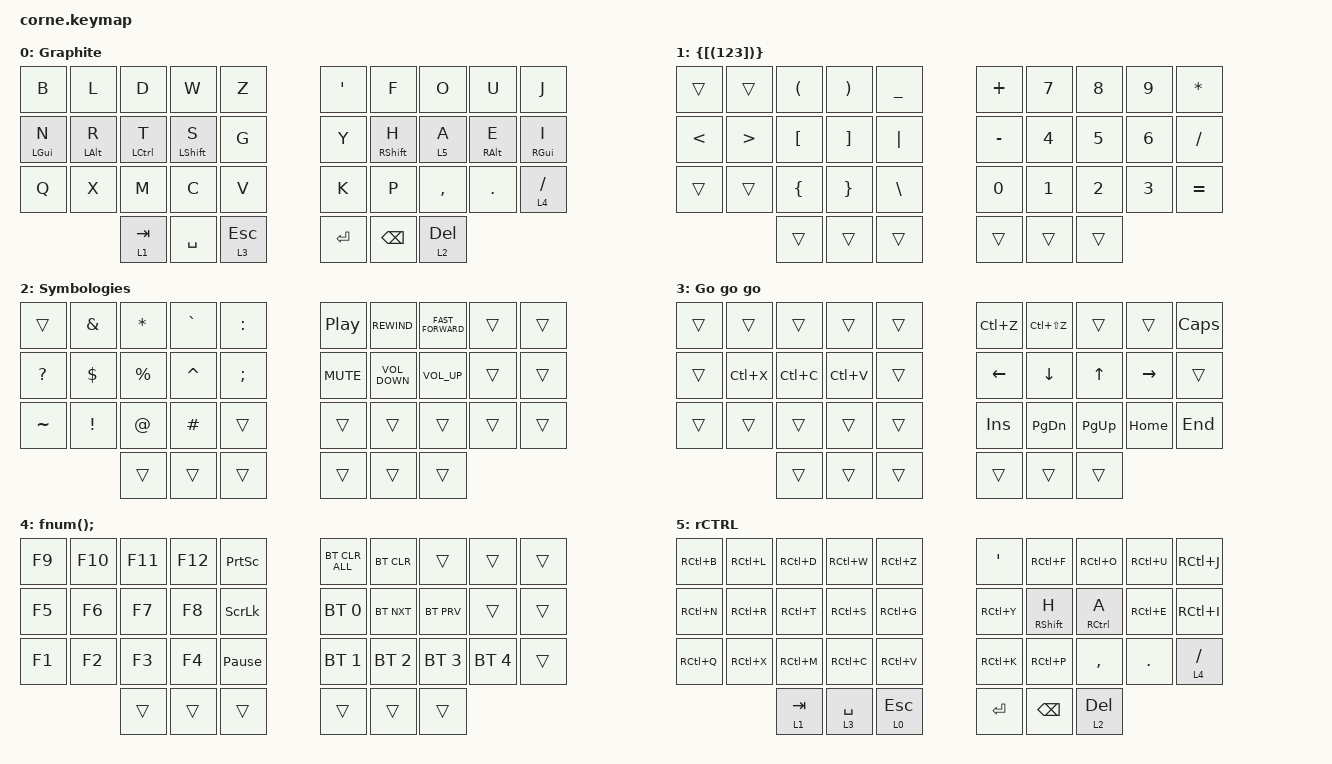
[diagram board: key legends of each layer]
/*
 * Copyright (c) 2020 The ZMK Contributors
 *
 * SPDX-License-Identifier: MIT
 */

#include <behaviors.dtsi>
#include <dt-bindings/zmk/bt.h>
#include <dt-bindings/zmk/keys.h>

/ {
    chosen { zmk,physical-layout = &foostan_corne_5col_layout; };

    behaviors {
        as: auto_shift {
            compatible = "zmk,behavior-hold-tap";
            #binding-cells = <2>;
            tapping_term_ms = <200>;
            quick_tap_ms = <0>;
            flavor = "tap-preferred";
            bindings = <&kp>, <&kp>;
        };

        home_row_mods: home_row_mods {
            compatible = "zmk,behavior-hold-tap";
            label = "HOME_ROW_MODS";
            bindings = <&kp>, <&kp>;

            #binding-cells = <2>;
            flavor = "balanced";
            tapping-term-ms = <300>;
            quick-tap-ms = <175>;
            require-prior-idle-ms = <150>;
        };
    };

    combos { compatible = "zmk,combos"; };

    keymap {
        compatible = "zmk,keymap";

        GRAPHITE {
            display-name = "Graphite";
            bindings = <
&kp B                      &kp L                      &kp D                          &kp W                        &kp Z         &kp APOS   &kp F                         &kp O      &kp U                       &kp J
&home_row_mods LEFT_GUI N  &home_row_mods LEFT_ALT R  &home_row_mods LEFT_CONTROL T  &home_row_mods LEFT_SHIFT S  &kp G         &kp Y      &home_row_mods RIGHT_SHIFT H  &lt 5 A    &home_row_mods RIGHT_ALT E  &home_row_mods RIGHT_GUI I
&kp Q                      &kp X                      &kp M                          &kp C                        &kp V         &kp K      &kp P                         &kp COMMA  &kp PERIOD                  &lt 4 SLASH
                                                      &lt 1 TAB                      &kp SPACE                    &lt 3 ESCAPE  &kp ENTER  &kp BACKSPACE                 &lt 2 DEL
            >;
        };

        Nums_Layer {
            // -----------------------------------------------------------------------------------------
            // | !     |  @  |  #  |  $  |  %  |     |  ^  |  &  |  *  |  (  |  )  |
            // | BT1   | BT2 | BT3 | BT4 | BT5 |     | LFT | DWN |  UP | RGT |     |
            // | BTCLR |     |     |     |     |     |     |     |     |     |     |
            //               | GUI |     | SPC |     | ENT | ESC | TAB |

            display-name = "{[(123])}";
            bindings = <
&trans         &trans            &kp LEFT_PARENTHESIS  &kp RIGHT_PARENTHESIS  &kp UNDERSCORE  &kp PLUS   &kp N7        &kp N8        &kp N9        &kp ASTERISK
&kp LESS_THAN  &kp GREATER_THAN  &kp LEFT_BRACKET      &kp RIGHT_BRACKET      &kp PIPE        &kp MINUS  &kp NUMBER_4  &kp N5        &kp NUMBER_6  &kp SLASH
&trans         &trans            &kp LEFT_BRACE        &kp RIGHT_BRACE        &kp BACKSLASH   &kp N0     &kp NUMBER_1  &kp NUMBER_2  &kp NUMBER_3  &kp EQUAL
                                 &trans                &trans                 &trans          &trans     &trans        &trans
            >;
        };

        Symbol_Layer {
            // -----------------------------------------------------------------------------------------
            // | 1! |  2@ |  3# |  4$ |  5% |     |  6^ |  7& |  8* |  9(  |  0)  |
            // | -_ |  =+ |  {  |  [  |  (  |     |  )  |  ]  |  }  |  /?  |  \|  |
            // | `~ |     |     |  ,< |  :  |     |  ;  |  .> | CTRL| META |      |
            //            | GUI | ESC | SPC |     | ENT |     | TAB |

            display-name = "Symbologies";
            bindings = <
&trans        &kp AMPERSAND    &kp ASTERISK  &kp GRAVE  &kp COLON  &kp C_PLAY_PAUSE  &kp C_REWIND       &kp C_FAST_FORWARD  &trans  &trans
&kp QUESTION  &kp DOLLAR       &kp PERCENT   &kp CARET  &kp SEMI   &kp C_MUTE        &kp C_VOLUME_DOWN  &kp C_VOL_UP        &trans  &trans
&kp TILDE     &kp EXCLAMATION  &kp AT_SIGN   &kp HASH   &trans     &trans            &trans             &trans              &trans  &trans
                               &trans        &trans     &trans     &trans            &trans             &trans
            >;
        };

        Navigation_Layer {
            // | 1! |  2@ |  3# |  4$ |  5% |     |  6^ |  7& |  8* |  9(  |  0)  |
            // | -_ |  =+ |  {  |  [  |  (  |     |  )  |  ]  |  }  |  /?  |  \|  |
            // | `~ |     |     |  ,< |  :  |     |  ;  |  .> | CTRL| META |      |
            //            | GUI | ESC | SPC |     | ENT |     | TAB |

            display-name = "Go go go";
            bindings = <
&trans  &trans     &trans     &trans     &trans  &kp LC(Z)       &kp LC(LS(Z))   &trans        &trans           &kp CAPSLOCK
&trans  &kp LC(X)  &kp LC(C)  &kp LC(V)  &trans  &kp LEFT_ARROW  &kp DOWN_ARROW  &kp UP_ARROW  &kp RIGHT_ARROW  &trans
&trans  &trans     &trans     &trans     &trans  &kp INSERT      &kp PAGE_DOWN   &kp PAGE_UP   &kp HOME         &kp END
                   &trans     &trans     &trans  &trans          &trans          &trans
            >;
        };

        Function_Layer {
            // | 1! |  2@ |  3# |  4$ |  5% |     |  6^ |  7& |  8* |  9(  |  0)  |
            // | -_ |  =+ |  {  |  [  |  (  |     |  )  |  ]  |  }  |  /?  |  \|  |
            // | `~ |     |     |  ,< |  :  |     |  ;  |  .> | CTRL| META |      |
            //            | GUI | ESC | SPC |     | ENT |     | TAB |

            display-name = "fnum();";
            bindings = <
&kp F9  &kp F10  &kp F11  &kp F12  &kp PRINTSCREEN  &bt BT_CLR_ALL  &bt BT_CLR    &trans        &trans        &trans
&kp F5  &kp F6   &kp F7   &kp F8   &kp SCROLLLOCK   &bt BT_SEL 0    &bt BT_NXT    &bt BT_PRV    &trans        &trans
&kp F1  &kp F2   &kp F3   &kp F4   &kp PAUSE_BREAK  &bt BT_SEL 1    &bt BT_SEL 2  &bt BT_SEL 3  &bt BT_SEL 4  &trans
                 &trans   &trans   &trans           &trans          &trans        &trans
            >;
        };

        rCTRL {
            display-name = "rCTRL";
            bindings = <
&kp RC(B)  &kp RC(L)  &kp RC(D)  &kp RC(W)    &kp RC(Z)     &kp APOS   &kp RC(F)                     &kp RC(O)                       &kp RC(U)   &kp RC(J)
&kp RC(N)  &kp RC(R)  &kp RC(T)  &kp RC(S)    &kp RC(G)     &kp RC(Y)  &home_row_mods RIGHT_SHIFT H  &home_row_mods RIGHT_CONTROL A  &kp RC(E)   &kp RC(I)
&kp RC(Q)  &kp RC(X)  &kp RC(M)  &kp RC(C)    &kp RC(V)     &kp RC(K)  &kp RC(P)                     &kp COMMA                       &kp PERIOD  &lt 4 SLASH
                      &lt 1 TAB  &lt 3 SPACE  &lt 0 ESCAPE  &kp ENTER  &kp BACKSPACE                 &lt 2 DEL
            >;
        };
    };
};
